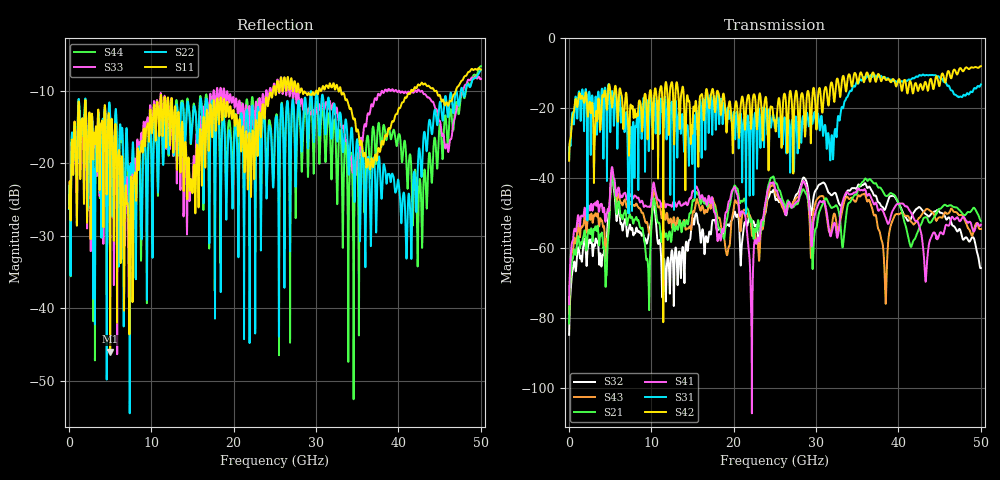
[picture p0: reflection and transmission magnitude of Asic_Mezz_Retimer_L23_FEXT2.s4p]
! Created Thu Jun 27 15:57:19 2019
# hz S ma R 50
! 4 Port Network Data from SP1.SP block
! freq  magS11  angS11  magS12  angS12  magS13  angS13  magS14  angS14
!  magS21  angS21  magS22  angS22  magS23  angS23  magS24  angS24
!  magS31  angS31  magS32  angS32  magS33  angS33  magS34  angS34
!  magS41  angS41  magS42  angS42  magS43  angS43  magS44  angS44
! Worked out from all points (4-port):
!   4996 points, 50 MHz to 50 GHz, reference 50 ohm
!   strongest paths, dB at 50 MHz, 12.54 GHz, 25.03 GHz, 37.52 GHz, 50 GHz:
!     S42: -35.0, -12.6, -24.7, -10.2, -7.9
!     S31: -34.7, -18.2, -25.7, -10.5, -13.2
!     S41: -76.0, -48.1, -42.9, -49.1, -53.3
!     S21: -81.6, -55.6, -41.2, -42.6, -52.2
!     S43: -78.7, -54.2, -43.7, -54.3, -54.5
!     S32: -84.8, -60.7, -45.4, -46.8, -65.7
!   lowest |S11| = -46.0 dB at 5.03 GHz (marker M1), VSWR 1.01, Z = 50.4 + j0.295 ohm
!   |S11| at or under -10 dB: start of sweep to 24.79 GHz; 33.02 GHz to 41.52 GHz (8.497 GHz wide, 22.8 % of centre); 44.35 GHz to 46.96 GHz (2.607 GHz wide, 5.71 % of centre)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
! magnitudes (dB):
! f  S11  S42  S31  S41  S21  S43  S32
! 50 MHz  -26.2  -35.0  -34.7  -76.0  -81.6  -78.7  -84.8
! 5.03 GHz  -46.0  -14.7  -25.9  -43.5  -45.4  -45.0  -44.6
! 9.62 GHz  -14.7  -24.4  -20.2  -48.2  -65.0  -54.0  -57.2
! 20.1 GHz  -14.2  -21.2  -23.0  -42.5  -42.1  -47.1  -49.6
! 22.17 GHz  -20.6  -23.9  -21.4  -82.8  -51.7  -55.0  -52.9
! 24.65 GHz  -11.0  -19.5  -23.6  -41.5  -39.8  -42.2  -44.1
! 50 GHz  -7.1  -7.9  -13.2  -53.3  -52.2  -54.5  -65.7
